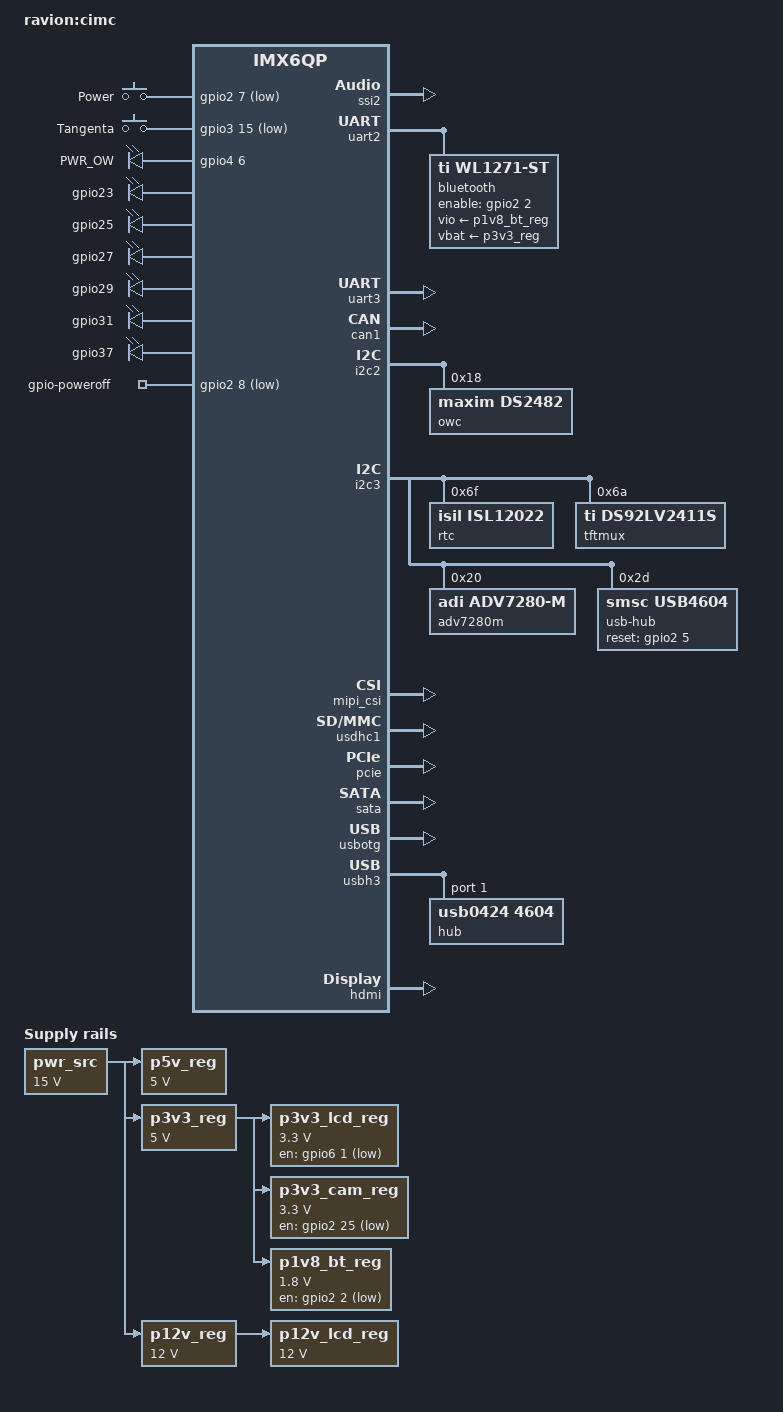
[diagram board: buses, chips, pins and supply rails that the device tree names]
/*
 * Copyright 2018 Radioavionica Corp.
 *
 * Author: Alex A. Mihaylov <minimumlaw@rambler.ru>
 *
 * This program is free software; you can redistribute it and/or modify
 * it under the terms of the GNU General Public License version 2 as
 * published by the Free Software Foundation.
 *
 */
/dts-v1/;
#include "imx6qp.dtsi"

#include "imx6qdl-ravion-v2.dtsi"

/ {
	model = "ravion:cimc";
	compatible = "ravion,imx6qp", "fsl,imx6qp";

	chosen {
		stdout-path = &uart1;
	};

	/*
	 * Device specific regulators
	 */
	pwr_src: pwr_regulator {
			compatible = "regulator-fixed";
			regulator-name = "P15V_IN";
			/* FixMe: 12.8...25V input voltage */
			regulator-min-microvolt = <15000000>;
			regulator-max-microvolt = <15000000>;
			regulator-always-on;
	};

	p5v_reg: p5v_regulator {
			compatible = "regulator-fixed";
			regulator-name = "P5V";
			regulator-min-microvolt = <5000000>;
			regulator-max-microvolt = <5000000>;
			vin-supply = <&pwr_src>;
			regulator-always-on;
	};

	p3v3_reg: p3v3_regulator {
			compatible = "regulator-fixed";
			regulator-name = "P3V3";
			regulator-min-microvolt = <5000000>;
			regulator-max-microvolt = <5000000>;
			vin-supply = <&pwr_src>;
			regulator-always-on;
	};

	p3v3_lcd_reg: p3v3_lcd_regulator {
			compatible = "regulator-fixed";
			regulator-name = "P3V3_LCD";
			regulator-min-microvolt = <3300000>;
			regulator-max-microvolt = <3300000>;
			vin-supply = <&p3v3_reg>;
			gpio = <&gpio6 1 GPIO_ACTIVE_LOW>;
			regulator-always-on; /* XP25: force on (1-2)/normal (2-3) */
	};

	p3v3_cam_reg: p3v3_cam_regulator {
			compatible = "regulator-fixed";
			regulator-name = "P3V3_CAM";
			regulator-min-microvolt = <3300000>;
			regulator-max-microvolt = <3300000>;
			vin-supply = <&p3v3_reg>;
			gpio = <&gpio2 25 GPIO_ACTIVE_LOW>;
			regulator-always-on; /* XP25: force on (1-2)/normal (2-3) */
	};

	p12v_reg: p12v_regulator {
			compatible = "regulator-fixed";
			regulator-name = "P12V";
			regulator-min-microvolt = <12000000>;
			regulator-max-microvolt = <12000000>;
			vin-supply = <&pwr_src>;
			regulator-always-on; /* XP61: enable/disable reg. */
	};

	p12v_lcd_reg: p12v_lcd_regulator {
			compatible = "regulator-fixed";
			regulator-name = "P12V_LCD";
			regulator-min-microvolt = <12000000>;
			regulator-max-microvolt = <12000000>;
			vin-supply = <&p12v_reg>;
			regulator-always-on; /* XP62: enable/disable reg. */
	};

	p1v8_bt_reg: p1v8_bt_regulator {
			compatible = "regulator-fixed";
			regulator-name = "VIO_BT";
			regulator-min-microvolt = <1800000>;
			regulator-max-microvolt = <1800000>;
			gpio = <&gpio2 2 GPIO_ACTIVE_LOW>; /* XP48 - removed: force enable */
			regulator-always-on;
			vin-supply = <&p3v3_reg>;
	};

#if 0
pps	= <&gpio1  2 GPIO_ACTIVE_LOW>;	/* soDimm 055 */
pen1	= <&gpio6  3 GPIO_ACTIVE_LOW>;	/* soDimm 059 */
oc1	= <&gpio6  4 GPIO_ACTIVE_LOW>;	/* soDimm 085 */
pen2	= <&gpio2 24 GPIO_ACTIVE_LOW>;	/* soDimm 106 */
oc2	= <&gpio2 25 GPIO_ACTIVE_LOW>;	/* soDimm 110 */
pen3	= <&gpio2  0 GPIO_ACTIVE_LOW>;	/* soDimm 111 */
oc3	= <&gpio2 26 GPIO_ACTIVE_LOW>;	/* soDimm 112 */
pen4	= <&gpio4  9 GPIO_ACTIVE_LOW>;	/* soDimm 152 */
oc4	= <&gpio4 10 GPIO_ACTIVE_LOW>;	/* soDimm 154 */
pwr_video = <&gpio2 11 GPIO_ACTIVE_LOW>;	/* soDimm 133 */
stby_can= <&gpio4  8 GPIO_ACTIVE_LOW>;	/* soDimm 150 */
#endif

	gpio-keys {
		compatible = "gpio-keys";

		power {
			label = "Power";
			gpios = <&gpio2 7 GPIO_ACTIVE_LOW>;	/* soDimm 125 */
			linux,code = <KEY_POWER>;
			debounce-interval = <100>;
			wakeup-source;
		};

		tangenta {
			label = "Tangenta";
			gpios = <&gpio3 15 GPIO_ACTIVE_LOW>;	/* soDimm 120 */
			linux,code = <KEY_F1>;
			debounce-interval = <100>;
			wakeup-source;
		};
	};

	gpio-leds {
		pinctrl-names = "default";
		pinctrl-0 = <&pinctrl_uart1gpio>;
		compatible = "gpio-leds";

		pwr_ow {
			label = "PWR_OW";
			gpios = <&gpio4 6 GPIO_ACTIVE_HIGH>;	/* soDimm 124 */
			default-state = "on";
		};

		gpio23 {
			label = "gpio23";
			gpio = <&gpio3 24 GPIO_ACTIVE_HIGH>;	/* soDimm 023 */
			default-state = "off";
		};

		gpio25 {
			label = "gpio25";
			gpio = <&gpio3 19 GPIO_ACTIVE_HIGH>;	/* soDimm 023 */
			default-state = "off";
		};

		gpio27 {
			label = "gpio27";
			gpio = <&gpio3 20 GPIO_ACTIVE_HIGH>;	/* soDimm 023 */
			default-state = "off";
		};

		gpio29 {
			label = "gpio29";
			gpio = <&gpio3 25 GPIO_ACTIVE_HIGH>;	/* soDimm 023 */
			default-state = "off";
		};

		gpio31 {
			label = "gpio31";
			gpio = <&gpio3 23 GPIO_ACTIVE_HIGH>;	/* soDimm 023 */
			default-state = "off";
		};

		gpio37 {
			label = "gpio37";
			gpio = <&gpio2 31 GPIO_ACTIVE_HIGH>;	/* soDimm 023 */
			default-state = "off";
		};
	};

	gpio-poweroff {
		compatible = "gpio-poweroff";
		gpios = <&gpio2 8 GPIO_ACTIVE_LOW>;		/* soDimm 127 */
	};
};

/*
 * Sound subsystem
 */
&ssi2	{	status = "okay";	};

/*
 * Video subsystem (select one - TFT or LVDS)
 */
/* VGA */
&tft_display_bus {	status = "disabled";	};
/* LVDS */
&ldb {	status = "disabled";	};
/*
 * Serial ports
 */
/* &uart1 {	status = "okay";	}; => Allways enabled */
&uart2 {
	status = "okay";


	bluetooth { /* DD19: CC2564CRVM */
		enable-gpios = <&gpio2 2  GPIO_ACTIVE_HIGH>;	/* soDimm 115 */
		compatible = "ti,wl1271-st";
		clocks = <&clk_32k_bt 0>;
		clock-names = "ext_clock";
		max-speed = <3686400>;
		/*
		 * Params not found in source, but described in documentation
		 */
		vio-supply = <&p1v8_bt_reg>;
		vbat-supply = <&p3v3_reg>;
		current-speed = <115200>;
		status = "okay";

		clk_32k_bt: bt_clk {
			compatible = "fixed-clock";
			#clock-cells = <0>;
			clock-frequency = <32768>;
			clock-accuracy = <100>;
		};
	};
};
&uart3 {
	status = "okay";
};

/*
 * Controller Area Network (CAN) Bus
 */
&can1 {
	status = "okay";
};

/*
 * I2C Busses
 */
&i2c2 {	/* Compatible I2C: soDimm 194, 196 */
	status = "okay";

	owc: ds2482@18 { /* DS2484: I2C to OneWire Converter */
		status = "okay";
		compatible = "maxim,ds2482";
		reg = <0x18>;
	};
};

&i2c3 { /* Extended I2C: soDimm 128, 130 */
	status = "okay";

	rtc@6f { /* ISL12020: I2C Real Time Clock (battery backup) */
		compatible = "isil,isl12022";
		reg = <0x6f>;
	};

	tftmux@6a { /* DS92LV2411S - TFT bus to one diff-pair multiplexer */
		compatible = "ti,ds92lv2411s";
		reg = <0x6a>;
	};

	adv7280m@20 { /*ADV7280BCPZ - Composite video capture with MIPI interface */
		compatible = "adi,adv7280-m";
		reg = <0x20>;
	};

	usb-hub@2d {
		compatible = "smsc,usb4604";
		reg = <0x2d>;
		reset-gpios = <&gpio2 5 GPIO_ACTIVE_HIGH>;	/* soDimm 121 */
		initial-mode = <1>; /* 1 for HUB, 2 for STANDBY  */
	};
};

&mipi_csi {
	status = "okay";

	port@0 {
		reg = <0>;
		csi_port_in: endpoint {
/*			remote-endpoint = <&csi_sensor_out>; */
			clock-lanes = <0>;
			data-lanes = <1 2>;
		};
	};
};

/*
 * SPI Bus
 */
&ecspi1 {	status = "disabled"; };

/*
 * SD/MMC and eMMC controllers
 */
&usdhc1 {	status = "okay";	}; /* compatible */
&usdhc2 {	status = "disabled";	}; /* externed */
/* &usdhc3 {	status = "okay";	}; => eMMC allways enabled */

/*
 * Ethernet controller
 */
/* &fec {	status = "okay";	}; => eth0 allways enabled */

/*
 * Audio (digital part)
 */
/* &audmux {	status = "okay";	}; => Allways enabled */
/* &ssi1 {	status = "okay";	}; => Allways enabled */

/*
 * High-speed serial bus
 */
&pcie {
	status = "okay";
	/* Child Device LAN7430i connected to this interface */
};

&sata {
	status = "okay";
};

/* &usbh1  {	status = "okay";	}; HOST => Allways enabled */

&usbotg	{ /* OTG */
	power-active-high;
	status = "okay";
};

&usbh3 { /* HSIC */
	status = "okay";
	#address-cells = <1>;
	#size-cells = <0>;

	hub@1 { /* USB4604: 4 port HUB with HSIC upstream */
		compatible = "usb0424,4604";
		reg = <1>;
	};
};

/*
 * PWMs
 */
&pwm3	{	status = "disabled";	};
&pwm4	{	status = "disabled";	};

/*
 * Video subsystems
 */
&hdmi	{	status = "okay";	};
